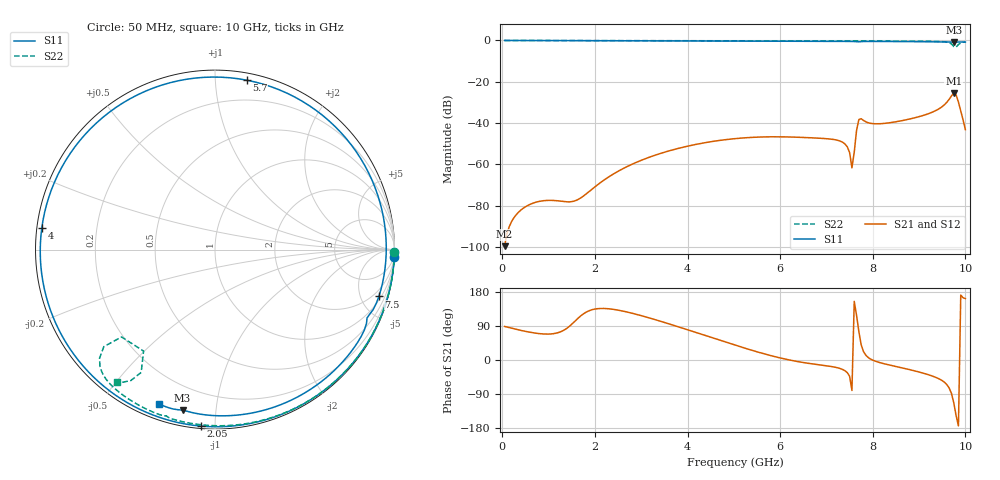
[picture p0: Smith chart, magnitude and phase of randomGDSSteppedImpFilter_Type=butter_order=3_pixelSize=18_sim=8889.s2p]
! freq	dB(S11)	phase(S11)	dB(S12)	phase(S12)
!  dB(S21)	phase(S21)	dB(S22)	phase(S22)
!S-par simulation data
#  GHz  S  DB  R 50
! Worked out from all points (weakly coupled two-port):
!   200 points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, 50 MHz to 10 GHz, reference 50 ohm
!   highest |S21| = -25.50 dB at 9.75 GHz (marker M1); lowest = -99.6 dB at 50 MHz (marker M2)
!   lowest |S11| = -0.8 dB at 9.75 GHz (marker M3), VSWR 21.75, Z = 3.83 - j40.8 ohm
!   |S11| at or under -10 dB: nowhere
!   |S22| runs from -3.2 to 0.0 dB; largest |S21 - S12| = 0
!   S11 on the Smith chart (normalised r, x): 50 MHz: 0, -48; 2.05 GHz: 0.01, -0.92; 4 GHz: 0.01, +0.06; 5.7 GHz: 0.05, +1.20; 7.5 GHz: 1.30, -6.89; 10 GHz: 0.07, -0.70
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0.05  -0.00 -2.4  -99.59 88.6  -99.59 88.6  -0.00 -0.8
0.8  -0.05 -37.3  -77.89 69.6  -77.89 69.6  -0.01 -12.2
1.5  -0.09 -69.6  -78.03 94.4  -78.03 94.4  -0.03 -22.7
1.75  -0.10 -81.0  -75.35 121.6  -75.35 121.6  -0.03 -26.4
2.05  -0.12 -94.7  -70.00 135.3  -70.00 135.3  -0.04 -30.9
2.7  -0.16 -124.5  -61.00 126.5  -61.00 126.5  -0.05 -40.4
3.4  -0.20 -157.5  -54.81 102.9  -54.81 102.9  -0.07 -50.4
4  -0.24 172.8  -51.18 79.8  -51.18 79.8  -0.08 -58.7
5.05  -0.32 116.4  -47.48 38.3  -47.48 38.3  -0.11 -72.9
5.7  -0.35 79.4  -46.67 14.8  -46.67 14.8  -0.14 -81.4
6.7  -0.39 23.9  -47.15 -10.4  -47.15 -10.4  -0.18 -94.1
7.3  -0.42 -6.4  -48.75 -22.7  -48.75 -22.7  -0.22 -101.6
7.5  -0.45 -16.0  -54.29 -42.9  -54.29 -42.9  -0.24 -104.1
7.55  -0.47 -18.4  -61.68 -80.4  -61.68 -80.4  -0.24 -104.7
7.65  -0.60 -22.9  -43.51 117.9  -43.51 117.9  -0.29 -106.0
7.7  -0.64 -24.2  -38.29 74.5  -38.29 74.5  -0.31 -106.4
8.35  -0.50 -51.5  -39.88 -13.0  -39.88 -13.0  -0.30 -114.3
9.3  -0.65 -86.5  -34.58 -42.9  -34.58 -42.9  -0.43 -127.2
9.65  -0.76 -98.4  -28.48 -73.9  -28.48 -73.9  -1.08 -136.7
9.75  -0.80 -101.4  -25.50 -113.4  -25.50 -113.4  -2.94 -136.9
9.85  -0.74 -104.7  -29.84 -173.9  -29.84 -173.9  -1.96 -121.0
10  -0.77 -110.0  -43.16 162.3  -43.16 162.3  -0.75 -126.6
